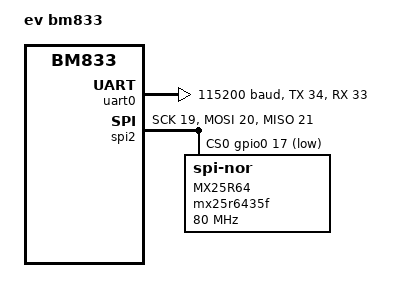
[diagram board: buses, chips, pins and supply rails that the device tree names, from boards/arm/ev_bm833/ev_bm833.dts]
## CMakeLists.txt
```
# SPDX-License-Identifier: Apache-2.0

cmake_minimum_required(VERSION 3.20.0)

list(APPEND BOARD_ROOT ${CMAKE_CURRENT_SOURCE_DIR})
set (OPENOCD_NRF5_SUBFAMILY "nrf52")

find_package(Zephyr REQUIRED HINTS $ENV{ZEPHYR_BASE})
project(spi_flash)

FILE(GLOB app_sources src/*.c)
target_sources(app PRIVATE ${app_sources})
```

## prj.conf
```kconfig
CONFIG_STDOUT_CONSOLE=y
CONFIG_FLASH=y
CONFIG_SPI=y

CONFIG_SPI_NOR=y
```

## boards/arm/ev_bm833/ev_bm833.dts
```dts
/*
 * Copyright (c) 2022 traxon technologies
 */

/dts-v1/;
#include <nordic/nrf52833_qiaa.dtsi>

/ {
    model = "ev bm833";
    compatible = "nordic,ev_bm833";

    chosen {
        zephyr,console = &uart0;
        zephyr,shell-uart = &uart0;
        zephyr,uart-mcumgr = &uart0;
        zephyr,bt-mon-uart = &uart0;
        zephyr,bt-c2h-uart = &uart0;
        zephyr,sram = &sram0;
        zephyr,flash = &flash0;
        zephyr,code-partition = &slot0_partition;
    };
};

&gpiote {
    status = "okay";
};

&gpio0 {
    status = "okay";
};

&gpio1 {
    status = "okay";
};

&uart0 {
    compatible = "nordic,nrf-uart";
    status = "okay";
    current-speed = <115200>;
    tx-pin = <34>;
    rx-pin = <33>;
    rx-pull-up;
};

&spi2 {
    compatible = "nordic,nrf-spim";
    status = "okay";
    sck-pin = <19>;
    mosi-pin = <20>;
    miso-pin = <21>;
    cs-gpios = <&gpio0 17 GPIO_ACTIVE_LOW>;
    mx25r64: mx25r6435f@0 {
        compatible = "jedec,spi-nor";
        reg = <0>;
        spi-max-frequency = <80000000>;
        label = "MX25R64";
        jedec-id = [c2 28 17];
        size = <67108864>;
    };
};

&flash0 {
    partitions {
        compatible = "fixed-partitions";
        #address-cells = <1>;
        #size-cells = <1>;

        boot_partition: partition@0 {
            label = "mcuboot";
            reg = <0x000000000 0xC000>;
        };
        slot0_partition: partition@c000 {
            label = "image-0";
            reg = <0x0000C000 0x32000>;
        };
        slot1_partition: partition@3e000 {
            label = "image-1";
            reg = <0x0003E000 0x32000>;
        };
        scratch_partition: partition@70000 {
            label = "image-scratch";
            reg = <0x00070000 0xA000>;
        };
        storage_partition: partition@7a000 {
            label = "storage";
            reg = <0x0007A000 0x00006000>;
        };
    };
};
```

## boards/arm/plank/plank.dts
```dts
/*
 * Copyright (c) 2017 Linaro Limited
 *
 * SPDX-License-Identifier: Apache-2.0
 */

/dts-v1/;
#include <nordic/nrf52840_qiaa.dtsi>

/ {
    model = "Plank board";
    compatible = "nordic,plank";

    chosen {
        zephyr,console = &uart0;
        zephyr,shell-uart = &uart0;
        zephyr,uart-mcumgr = &uart0;
        zephyr,bt-mon-uart = &uart0;
        zephyr,bt-c2h-uart = &uart0;
        zephyr,sram = &sram0;
        zephyr,flash = &flash0;
        zephyr,code-partition = &slot0_partition;
    };
};

&gpiote {
    status = "okay";
};

&gpio0 {
    status = "okay";
};

&gpio1 {
    status = "okay";
};

&uart0 {
    compatible = "nordic,nrf-uarte";
    status = "okay";
    current-speed = <115200>;
    tx-pin = <6>;
    rx-pin = <8>;
    rts-pin = <5>;
    cts-pin = <7>;
};

&spi2 {
    compatible = "nordic,nrf-spim";
    status = "okay";
    sck-pin = <19>;
    mosi-pin = <20>;
    miso-pin = <21>;
    cs-gpios = <&gpio0 17 GPIO_ACTIVE_LOW>;
    mx25r64: mx25r6435f@0 {
        compatible = "jedec,spi-nor";
        reg = <0>;
        spi-max-frequency = <80000000>;
        label = "MX25R64";
        jedec-id = [c2 28 17];
        size = <67108864>;
    };
};

&flash0 {
    partitions {
        compatible = "fixed-partitions";
        #address-cells = <1>;
        #size-cells = <1>;

        boot_partition: partition@0 {
            label = "mcuboot";
            reg = <0x000000000 0x0000C000>;
        };
        slot0_partition: partition@c000 {
            label = "image-0";
            reg = <0x0000C000 0x00067000>;
        };
        slot1_partition: partition@73000 {
            label = "image-1";
            reg = <0x00073000 0x00067000>;
        };
        scratch_partition: partition@da000 {
            label = "image-scratch";
            reg = <0x000da000 0x0001e000>;
        };

        /*
         * The flash starting at 0x000f8000 and ending at
         * 0x000fffff is reserved for use by the application.
         */

        /*
         * Storage partition will be used by FCB/LittleFS/NVS
         * if enabled.
         */
        storage_partition: partition@f8000 {
            label = "storage";
            reg = <0x000f8000 0x00008000>;
        };
    };
};
```

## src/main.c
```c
/*
 * Copyright (c) 2016 Intel Corporation.
 *
 * SPDX-License-Identifier: Apache-2.0
 */

#include <zephyr.h>
#include <drivers/flash.h>
#include <device.h>
#include <devicetree.h>
#include <stdio.h>
#include <string.h>

#define FLASH_DEVICE DT_LABEL(DT_INST(0, jedec_spi_nor))
#define FLASH_NAME "JEDEC SPI-NOR"

#define FLASH_TEST_REGION_OFFSET 0xff000
#define FLASH_SECTOR_SIZE        4096

void main(void)
{
	const uint8_t expected[] = { 0x12, 0x34, 0xab, 0x66, 0x99, 0x33, 0x45 };
	const size_t len = sizeof(expected);
	uint8_t buf[sizeof(expected)];
	const struct device *flash_dev;
	int rc;

	printf("\n------------------8<-------------------\n");
	printf(FLASH_NAME " SPI flash testing\n");

	flash_dev = device_get_binding(FLASH_DEVICE);

	if (!flash_dev) {
		printf("SPI flash driver %s was not found!\n",
		       FLASH_DEVICE);
		return;
	}

	/* Write protection needs to be disabled before each write or
	 * erase, since the flash component turns on write protection
	 * automatically after completion of write and erase
	 * operations.
	 */
	printf("\nTest 1: Flash erase\n");

	rc = flash_erase(flash_dev, FLASH_TEST_REGION_OFFSET,
			 FLASH_SECTOR_SIZE);
	if (rc != 0) {
		printf("Flash erase failed! %d\n", rc);
	} else {
		printf("Flash erase succeeded!\n");
	}

	printf("\nTest 2: Flash write\n");

	printf("Attempting to write %zu bytes\n", len);
	rc = flash_write(flash_dev, FLASH_TEST_REGION_OFFSET, expected, len);
	if (rc != 0) {
		printf("Flash write failed! %d\n", rc);
		return;
	}

	memset(buf, 0, len);
	rc = flash_read(flash_dev, FLASH_TEST_REGION_OFFSET, buf, len);
	if (rc != 0) {
		printf("Flash read failed! %d\n", rc);
		return;
	}

	if (memcmp(expected, buf, len) == 0) {
		printf("Data read matches data written. Good!!\n");
	} else {
		const uint8_t *wp = expected;
		const uint8_t *rp = buf;
		const uint8_t *rpe = rp + len;

		printf("Data read does not match data written!!\n");
		while (rp < rpe) {
			printf("%08x wrote %02x read %02x %s\n",
			       (uint32_t)(FLASH_TEST_REGION_OFFSET + (rp - buf)),
			       *wp, *rp, (*rp == *wp) ? "match" : "MISMATCH");
			++rp;
			++wp;
		}
	}
	printf("------------------>8-------------------\n");
}
```
